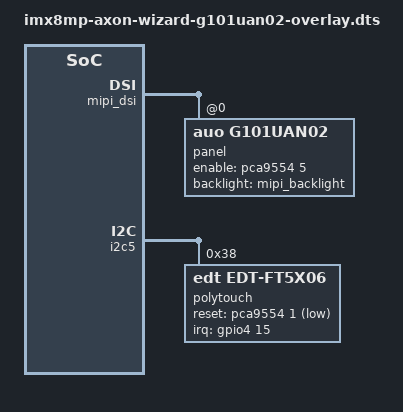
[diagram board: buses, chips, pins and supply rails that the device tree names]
// SPDX-License-Identifier: (GPL-2.0+ OR MIT)
/*
 * Copyright 2021 Technexion Ltd.
 *
 * Author: Richard Hu <richard.hu@technexion.com>
 *
 */

/dts-v1/;
/plugin/;

#include <dt-bindings/interrupt-controller/irq.h>
#include <dt-bindings/gpio/gpio.h>

/ {
	fragment@0 {
		target-path = "/";
		__overlay__ {
			reg_mipi_pwr: regulator_mipipwr {
				regulator-always-on;
				status = "okay";
			};

			reg_mipi_vdden: regulator_mipivdden {
				regulator-always-on;
				status = "okay";
			};

			mipi_backlight: mipi_backlight {
				status = "okay";
			};

			reg_mipi_bl_en: regulator_mipiblen {
				regulator-always-on;
				status = "okay";
			};
		};
	};

	fragment@1 {
		target = <&mipi_dsi>;
		__overlay__ {
			#address-cells = <1>;
			#size-cells = <0>;
			status = "okay";
			panel@0 {
				compatible = "auo,g101uan02";
		                backlight = <&mipi_backlight>;
		                reg = <0>;
		                enable-gpios = <&pca9554 5 GPIO_ACTIVE_HIGH>;
		                status = "okay";
			};
		};
	};

	fragment@2 {
		target = <&i2c5>; /* I2C_C */
		__overlay__ {
			#address-cells = <1>;
			#size-cells = <0>;
			status = "okay";

			polytouch: edt-ft5826@38 {
				compatible = "edt,edt-ft5x06";
				pinctrl-names = "default";
				pinctrl-0 = <&pinctrl_ft5336_touch_irq>;
				reg = <0x38>;
				interrupt-parent = <&gpio4>;
				interrupts = <15 IRQ_TYPE_EDGE_FALLING>;
				reset-gpios = <&pca9554 1 GPIO_ACTIVE_LOW>;
				touchscreen-size-x = <1920>;
		                touchscreen-size-y = <1200>;
				status="okay";
			};
		};
	};
};

